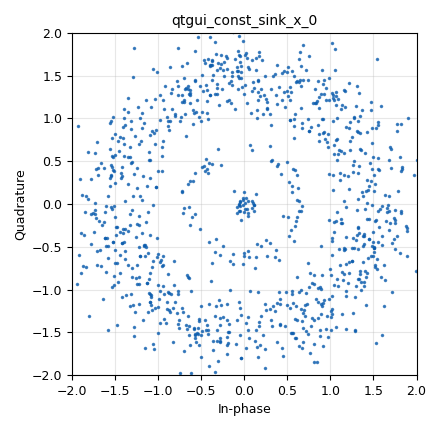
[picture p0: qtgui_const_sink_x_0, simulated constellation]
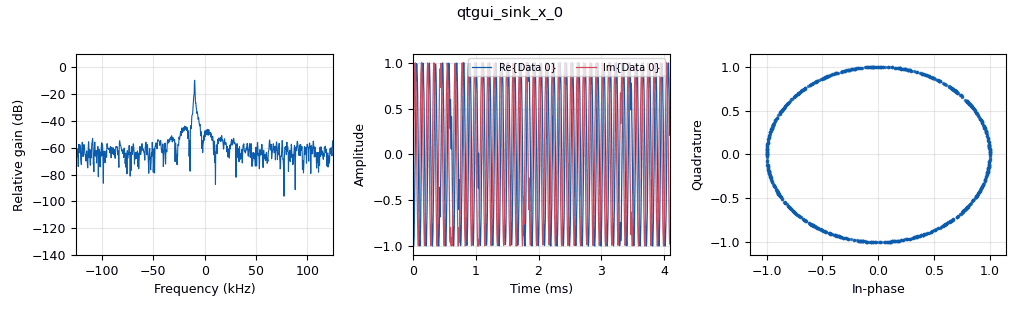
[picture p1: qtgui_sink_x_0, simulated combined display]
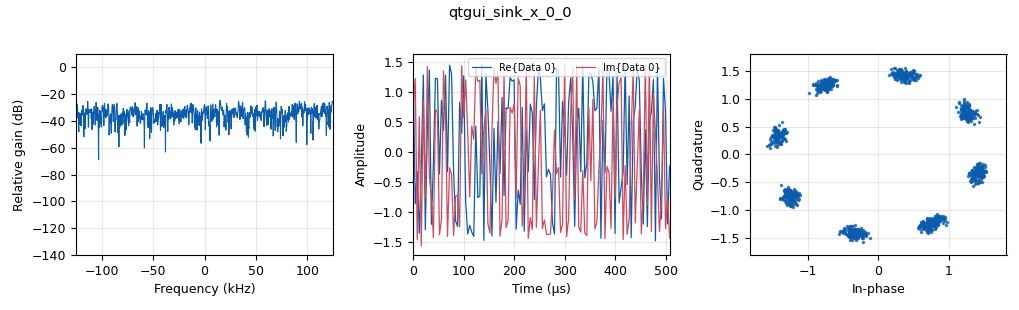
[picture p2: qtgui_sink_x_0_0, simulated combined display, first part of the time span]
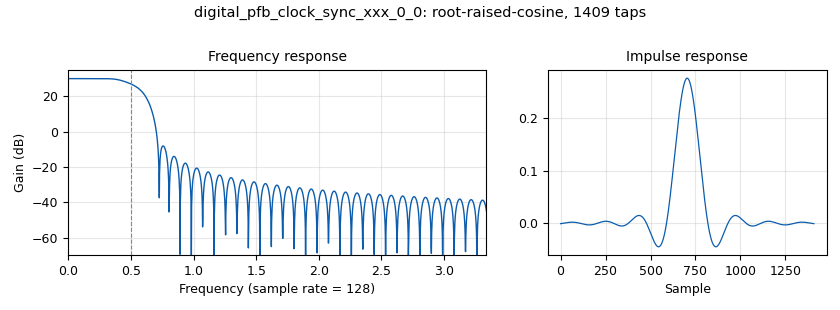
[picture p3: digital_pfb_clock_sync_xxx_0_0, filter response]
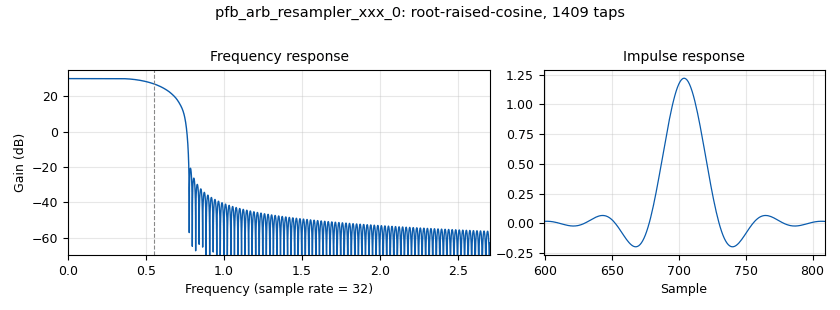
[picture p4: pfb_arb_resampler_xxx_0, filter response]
options:
  parameters:
    author: Prasann
    generate_options: qt_gui
    id: task5
    output_language: python
    title: Lab 8 - task 5
  states: {}

blocks:
- name: const_points
  id: variable
  parameters:
    value: '4'
  states: {}
- name: excess_bw
  id: variable
  parameters:
    value: '0.4'
  states: {}
- name: f
  id: variable_qtgui_range
  parameters:
    orient: Qt.Horizontal
    start: 1e3
    step: 1e3
    stop: 11e3
    value: 10e3
  states: {}
- name: fll_ntaps
  id: variable
  parameters:
    value: '55'
  states: {}
- name: freq_bw
  id: variable
  parameters:
    value: 2*pi/100
  states: {}
- name: nfilts
  id: variable
  parameters:
    value: '32'
  states: {}
- name: ntaps
  id: variable
  parameters:
    value: 11*nfilts*sps
  states: {}
- name: rt
  id: variable
  parameters:
    value: 2**0.5
  states: {}
- name: rx_taps
  id: variable
  parameters:
    value: |-
      filter.firdes.root_raised_cosine(nfilts, nfilts*sps, 1.0,
      excess_bw, ntaps)
  states: {}
- name: samp_rate
  id: variable
  parameters:
    value: 1e6
  states: {}
- name: sens
  id: variable_qtgui_range
  parameters:
    orient: Qt.Horizontal
    start: '-270e3'
    step: 1e3
    stop: '-100e3'
    value: '-250e3'
  states: {}
- name: sps
  id: variable
  parameters:
    value: '4'
  states: {}
- name: timing_bw
  id: variable
  parameters:
    value: 2*pi/100
  states: {}
- name: tx_taps
  id: variable
  parameters:
    value: |-
      firdes.root_raised_cosine (nfilts, nfilts,
      1.1, 0.4, ntaps)
  states: {}
- name: analog_random_source_x_0
  id: analog_random_source_x
  parameters:
    max: '8'
    min: '0'
    num_samps: '1000'
    repeat: 'True'
    type: byte
  states: {}
- name: analog_sig_source_x_0
  id: analog_sig_source_x
  parameters:
    amp: '1'
    freq: f
    offset: '0'
    phase: '0'
    samp_rate: samp_rate
    type: complex
    waveform: analog.GR_SIN_WAVE
  states: {}
- name: blocks_complex_to_arg_0
  id: blocks_complex_to_arg
  parameters: {}
  states: {}
- name: blocks_conjugate_cc_0
  id: blocks_conjugate_cc
  parameters: {}
  states: {}
- name: blocks_delay_0
  id: blocks_delay
  parameters:
    delay: '1'
    type: complex
  states: {}
- name: blocks_exponentiate_const_cci_0
  id: blocks_exponentiate_const_cci
  parameters:
    exponent: '8'
  states: {}
- name: blocks_multiply_const_vxx_0
  id: blocks_multiply_const_vxx
  parameters:
    const: 1.0/8
    type: float
  states: {}
- name: blocks_multiply_xx_0
  id: blocks_multiply_xx
  parameters:
    type: complex
  states: {}
- name: blocks_multiply_xx_1
  id: blocks_multiply_xx
  parameters:
    type: complex
  states: {}
- name: blocks_multiply_xx_1_0
  id: blocks_multiply_xx
  parameters:
    type: complex
  states: {}
- name: blocks_throttle_0
  id: blocks_throttle
  parameters:
    samples_per_second: samp_rate
    type: complex
  states: {}
- name: blocks_vco_c_0
  id: blocks_vco_c
  parameters:
    amplitude: '1'
    samp_rate: samp_rate/4
    sensitivity: sens
  states: {}
- name: digital
  id: import
  parameters:
    imports: from gnuradio import digital
  states: {}
- name: digital_chunks_to_symbols_xx_0
  id: digital_chunks_to_symbols_xx
  parameters:
    dimension: '1'
    in_type: byte
    out_type: complex
    symbol_table: '[rt, 1+1j, rt*1j, -1+1j, -rt, -1-1j, -rt*1j, 1-1j]'
  states: {}
- name: digital_pfb_clock_sync_xxx_0_0
  id: digital_pfb_clock_sync_xxx
  parameters:
    filter_size: nfilts
    init_phase: '16'
    loop_bw: timing_bw
    max_dev: '1.5'
    osps: '1'
    sps: sps
    taps: rx_taps
    type: ccf
  states: {}
- name: filt
  id: import
  parameters:
    imports: from gnuradio import filter
  states: {}
- name: pfb_arb_resampler_xxx_0
  id: pfb_arb_resampler_xxx
  parameters:
    atten: '100'
    nfilts: '32'
    rrate: sps
    taps: tx_taps
    type: ccf
  states: {}
- name: pi
  id: import
  parameters:
    imports: from math import pi
  states: {}
- name: qtgui_const_sink_x_0
  id: qtgui_const_sink_x
  parameters:
    gui_hint: tab@0
    size: '1024'
    type: complex
  states: {}
- name: qtgui_sink_x_0
  id: qtgui_sink_x
  parameters:
    bw: samp_rate/4
    fc: '0'
    fftsize: '1024'
    gui_hint: tab@1
    showports: 'True'
    type: complex
    wintype: firdes.WIN_BLACKMAN_hARRIS
  states: {}
- name: qtgui_sink_x_0_0
  id: qtgui_sink_x
  parameters:
    bw: samp_rate/4
    fc: '0'
    fftsize: '1024'
    gui_hint: tab@2
    showports: 'True'
    type: complex
    wintype: firdes.WIN_BLACKMAN_hARRIS
  states: {}
- name: tab
  id: qtgui_tab_widget
  parameters:
    label0: Start
    label1: VCO
    label2: Viterbi
    num_tabs: '3'
  states: {}

connections:
- [analog_random_source_x_0, '0', digital_chunks_to_symbols_xx_0, '0']
- [analog_sig_source_x_0, '0', blocks_multiply_xx_0, '0']
- [blocks_complex_to_arg_0, '0', blocks_multiply_const_vxx_0, '0']
- [blocks_conjugate_cc_0, '0', blocks_multiply_xx_1, '1']
- [blocks_delay_0, '0', blocks_conjugate_cc_0, '0']
- [blocks_exponentiate_const_cci_0, '0', blocks_delay_0, '0']
- [blocks_exponentiate_const_cci_0, '0', blocks_multiply_xx_1, '0']
- [blocks_multiply_const_vxx_0, '0', blocks_vco_c_0, '0']
- [blocks_multiply_xx_0, '0', digital_pfb_clock_sync_xxx_0_0, '0']
- [blocks_multiply_xx_0, '0', qtgui_const_sink_x_0, '0']
- [blocks_multiply_xx_1, '0', blocks_complex_to_arg_0, '0']
- [blocks_multiply_xx_1_0, '0', blocks_throttle_0, '0']
- [blocks_throttle_0, '0', qtgui_sink_x_0_0, '0']
- [blocks_vco_c_0, '0', blocks_multiply_xx_1_0, '1']
- [blocks_vco_c_0, '0', qtgui_sink_x_0, '0']
- [digital_chunks_to_symbols_xx_0, '0', pfb_arb_resampler_xxx_0, '0']
- [digital_pfb_clock_sync_xxx_0_0, '0', blocks_exponentiate_const_cci_0, '0']
- [digital_pfb_clock_sync_xxx_0_0, '0', blocks_multiply_xx_1_0, '0']
- [pfb_arb_resampler_xxx_0, '0', blocks_multiply_xx_0, '1']

metadata:
  file_format: 1
